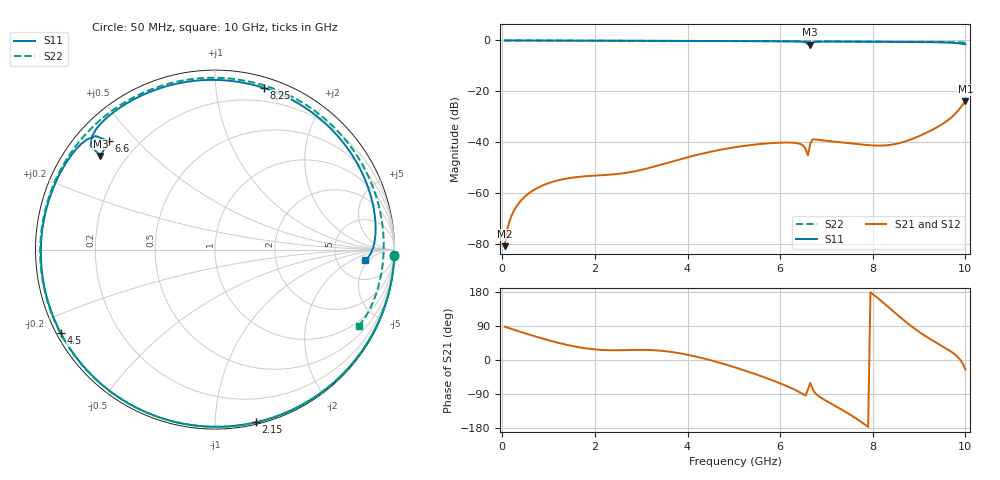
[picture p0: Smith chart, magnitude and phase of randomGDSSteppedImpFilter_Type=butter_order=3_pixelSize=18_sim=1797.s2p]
! freq	dB(S11)	phase(S11)	dB(S12)	phase(S12)
!  dB(S21)	phase(S21)	dB(S22)	phase(S22)
!S-par simulation data
#  GHz  S  DB  R 50
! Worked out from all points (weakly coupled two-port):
!   200 points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, 50 MHz to 10 GHz, reference 50 ohm
!   highest |S21| = -23.92 dB at 10 GHz (marker M1); lowest = -80.9 dB at 50 MHz (marker M2)
!   lowest |S11| = -1.7 dB at 6.65 GHz (marker M3), VSWR 10.41, Z = 5.41 + j17.6 ohm
!   |S11| at or under -10 dB: nowhere
!   |S22| runs from -0.8 to 0.0 dB; largest |S21 - S12| = 0
!   S11 on the Smith chart (normalised r, x): 50 MHz: 0, -61; 2.15 GHz: 0.01, -1.26; 4.5 GHz: 0.01, -0.25; 6.6 GHz: 0.10, +0.42; 8.25 GHz: 0.09, +1.34; 10 GHz: 10, -4
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0.05  -0.00 -1.9  -80.90 88.0  -80.90 88.0  -0.00 -2.2
0.1  -0.00 -3.7  -74.89 86.0  -74.89 86.0  -0.00 -4.4
0.2  -0.01 -7.4  -68.91 82.0  -68.91 82.0  -0.01 -8.7
0.5  -0.03 -18.5  -61.22 70.2  -61.22 70.2  -0.03 -21.5
1  -0.05 -36.6  -56.10 52.0  -56.10 52.0  -0.05 -42.7
1.75  -0.08 -63.1  -53.47 31.7  -53.47 31.7  -0.09 -73.2
2.15  -0.10 -76.7  -52.98 26.5  -52.98 26.5  -0.11 -88.8
3.4  -0.15 -117.3  -48.98 24.7  -48.98 24.7  -0.16 -134.9
4.5  -0.20 -151.6  -43.77 -0.7  -43.77 -0.7  -0.22 -174.0
5.05  -0.24 -168.9  -41.92 -20.4  -41.92 -20.4  -0.25 166.1
5.75  -0.29 168.1  -40.44 -49.8  -40.44 -49.8  -0.30 140.0
6.35  -0.38 146.4  -40.36 -80.5  -40.36 -80.5  -0.34 116.5
6.5  -0.52 139.4  -41.37 -90.9  -41.37 -90.9  -0.35 110.5
6.6  -1.46 134.4  -45.17 -78.0  -45.17 -78.0  -0.35 106.5
6.65  -1.67 140.8  -40.58 -60.6  -40.58 -60.6  -0.36 104.5
6.7  -0.87 140.1  -38.96 -76.8  -38.96 -76.8  -0.36 102.4
7.4  -0.45 109.2  -40.21 -136.0  -40.21 -136.0  -0.40 73.4
8.25  -0.53 73.2  -41.28 148.8  -41.28 148.8  -0.45 37.9
8.35  -0.54 68.8  -41.12 138.3  -41.12 138.3  -0.46 33.7
9.3  -0.69 25.8  -35.00 50.7  -35.00 50.7  -0.55 -3.9
9.7  -0.89 7.4  -30.22 21.3  -30.22 21.3  -0.65 -18.6
10  -1.53 -4.0  -23.92 -25.1  -23.92 -25.1  -0.85 -28.0
